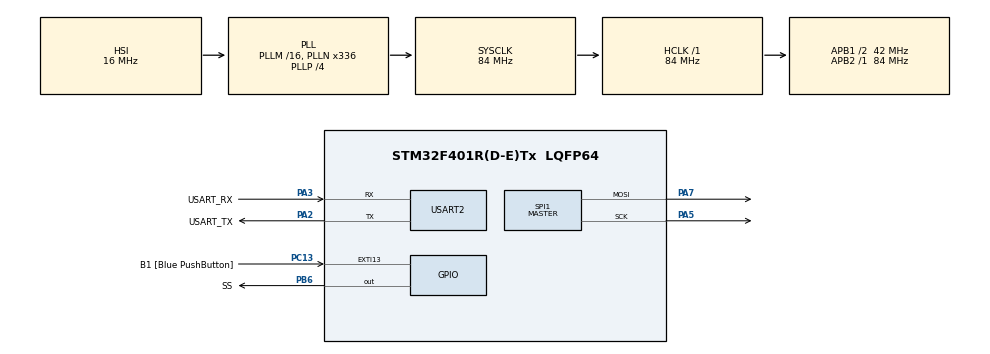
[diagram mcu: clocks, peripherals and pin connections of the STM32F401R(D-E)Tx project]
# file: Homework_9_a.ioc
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Dma.Request0=SPI1_TX
Dma.SPI1_TX.0.Direction=DMA_MEMORY_TO_PERIPH
Dma.SPI1_TX.0.FIFOMode=DMA_FIFOMODE_DISABLE
Dma.SPI1_TX.0.Instance=DMA2_Stream3
Dma.SPI1_TX.0.MemDataAlignment=DMA_MDATAALIGN_BYTE
Dma.SPI1_TX.0.MemInc=DMA_MINC_ENABLE
Dma.SPI1_TX.0.Mode=DMA_NORMAL
Dma.SPI1_TX.0.PeriphDataAlignment=DMA_PDATAALIGN_BYTE
Dma.SPI1_TX.0.PeriphInc=DMA_PINC_DISABLE
Dma.SPI1_TX.0.Priority=DMA_PRIORITY_LOW
Mcu.Family=STM32F4
Mcu.Name=STM32F401R(D-E)Tx
Mcu.Package=LQFP64
NVIC.DMA2_Stream3_IRQn=true\:0\:0\:false\:false\:true\:false\:true\:true
NVIC.PriorityGroup=NVIC_PRIORITYGROUP_0
NVIC.SPI1_IRQn=true\:0\:0\:false\:false\:true\:true\:true\:true
NVIC.TIM1_UP_TIM10_IRQn=true\:0\:0\:false\:false\:true\:true\:true\:true
NVIC.TIM3_IRQn=true\:0\:0\:false\:false\:true\:true\:true\:true
PA13.GPIO_Label=TMS
PA13.Mode=Serial_Wire
PA13.Signal=SYS_JTMS-SWDIO
PA14.GPIO_Label=TCK
PA14.Mode=Serial_Wire
PA14.Signal=SYS_JTCK-SWCLK
PA2.GPIO_Label=USART_TX
PA2.GPIO_Mode=GPIO_MODE_AF_PP
PA2.GPIO_PuPd=GPIO_NOPULL
PA2.GPIO_Speed=GPIO_SPEED_FREQ_LOW
PA2.Mode=Asynchronous
PA2.Signal=USART2_TX
PA3.GPIO_Label=USART_RX
PA3.GPIO_Mode=GPIO_MODE_AF_PP
PA3.GPIO_PuPd=GPIO_NOPULL
PA3.GPIO_Speed=GPIO_SPEED_FREQ_LOW
PA3.Mode=Asynchronous
PA3.Signal=USART2_RX
PA5.Mode=TX_Only_Simplex_Unidirect_Master
PA5.Signal=SPI1_SCK
PA7.Mode=TX_Only_Simplex_Unidirect_Master
PA7.Signal=SPI1_MOSI
PB3.GPIO_Label=SWO
PB3.Signal=SYS_JTDO-SWO
PB6.GPIO_Label=SS
PB6.Signal=GPIO_Output
PC13-ANTI_TAMP.GPIO_Label=B1 [Blue PushButton]
PC13-ANTI_TAMP.GPIO_ModeDefaultEXTI=GPIO_MODE_IT_FALLING
PC13-ANTI_TAMP.GPIO_PuPd=GPIO_NOPULL
PC13-ANTI_TAMP.Signal=GPXTI13
PC14-OSC32_IN.Mode=LSE-External-Oscillator
PC14-OSC32_IN.Signal=RCC_OSC32_IN
PC15-OSC32_OUT.Mode=LSE-External-Oscillator
PC15-OSC32_OUT.Signal=RCC_OSC32_OUT
PH0\ -\ OSC_IN.Mode=HSE-External-Clock-Source
PH0\ -\ OSC_IN.Signal=RCC_OSC_IN
PH1\ -\ OSC_OUT.Mode=HSE-External-Clock-Source
PH1\ -\ OSC_OUT.Signal=RCC_OSC_OUT
ProjectManager.HeapSize=0x200
ProjectManager.StackSize=0x400
ProjectManager.TargetToolchain=STM32CubeIDE
RCC.48MHZClocksFreq_Value=48000000
RCC.AHBFreq_Value=84000000
RCC.APB1CLKDivider=RCC_HCLK_DIV2
RCC.APB1Freq_Value=42000000
RCC.APB1TimFreq_Value=84000000
RCC.APB2Freq_Value=84000000
RCC.APB2TimFreq_Value=84000000
RCC.CortexFreq_Value=84000000
RCC.HCLKFreq_Value=84000000
RCC.HSE_VALUE=8000000
RCC.HSI_VALUE=16000000
RCC.PLLN=336
RCC.PLLP=RCC_PLLP_DIV4
RCC.PLLQ=7
RCC.SYSCLKFreq_VALUE=84000000
RCC.SYSCLKSource=RCC_SYSCLKSOURCE_PLLCLK
RCC.VCOOutputFreq_Value=336000000
SPI1.Direction=SPI_DIRECTION_2LINES
SPI1.Mode=SPI_MODE_MASTER
SPI1.VirtualType=VM_MASTER
TIM1.Period=4
TIM1.Prescaler=9999
TIM1.TIM_MasterOutputTrigger=TIM_TRGO_UPDATE
TIM3.Period=9999
TIM3.Prescaler=8399
USART2.VirtualMode=VM_ASYNC
VP_TIM1_VS_ClockSourceINT.Mode=Internal
VP_TIM3_VS_ClockSourceINT.Mode=Internal
board=NUCLEO-F401RE

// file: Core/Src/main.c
/* USER CODE BEGIN Header */
/**
  ******************************************************************************
  * @file           : main.c
  * @brief          : Main program body
  ******************************************************************************
  * @attention
  *
  * Copyright (c) 2024 STMicroelectronics.
  * All rights reserved.
  *
  * This software is licensed under terms that can be found in the LICENSE file
  * in the root directory of this software component.
  * If no LICENSE file comes with this software, it is provided AS-IS.
  *
  ******************************************************************************
  */
/* USER CODE END Header */
#include "main.h"

/* USER CODE BEGIN Includes */
#include <string.h>
/* USER CODE END Includes */

/* USER CODE BEGIN PTD */

/** Struct of a letter **/
typedef uint8_t letter_t[5][2];

/** Struct to display all the columns of the letter **/
typedef struct {
	uint8_t index;
	letter_t letter;
} display;

/* USER CODE END PTD */

/* USER CODE BEGIN PD */

#define GET_LETTER_BYTES(col1,col2,col3,col4,col5) {{col1<<1,16},{col2<<1,8},{col3<<1,4},{col4<<1,2},{col5<<1,1}}
#define SS_PIN 				GPIOB, GPIO_PIN_6
#define TWO_BYTES 			2
#define MAX_COLUMN_MATRIX 	4
#define MAX_ALPHABET 		2

/* USER CODE END PD */

SPI_HandleTypeDef hspi1;
DMA_HandleTypeDef hdma_spi1_tx;

TIM_HandleTypeDef htim1;
TIM_HandleTypeDef htim3;

UART_HandleTypeDef huart2;

/* USER CODE BEGIN PV */

display matrix; // Matrix variable

letter_t letterA = GET_LETTER_BYTES(31, 36, 68,  36, 31);
letter_t letterI = GET_LETTER_BYTES(65, 65, 127, 65, 65);

letter_t *alphabet [2] = {&letterA, &letterI}; // Just 2 letter but can be done with all the letters

int index_alphabet = 0; // Index for when we change the letter to display

/* USER CODE END PV */

void SystemClock_Config(void);
static void MX_GPIO_Init(void);
static void MX_DMA_Init(void);
static void MX_USART2_UART_Init(void);
static void MX_TIM1_Init(void);
static void MX_SPI1_Init(void);
static void MX_TIM3_Init(void);

/* USER CODE BEGIN 0 */

/**
 * @brief Change the letter of the matrix
 */
void ChangeLetter (void)
{
	// If the index is higher than the max of the alphabet
	if(++index_alphabet == MAX_ALPHABET)
	{
		index_alphabet = 0;
	}

	// Change the letter by the next one
	memcpy(matrix.letter, *alphabet[index_alphabet], sizeof(*alphabet[index_alphabet]));
}

/**
 * @brief Timers Callback
 * 		  Timer of 1 sec : Change the letter to be displayed
 * 		  Timer of 4 ms  : Display each columns of the letter on the LED matrix
 */
void HAL_TIM_PeriodElapsedCallback(TIM_HandleTypeDef *htim)
{
  /** 1sec Timer (to change the letter) **/
  if (htim->Instance == htim3.Instance)
  {
	  ChangeLetter();
  }

  /** 4ms Timer (to display the letter) **/
  if(htim->Instance == htim1.Instance)
  {
	  HAL_GPIO_WritePin(SS_PIN, GPIO_PIN_SET);
	  // For each column
	  if(++matrix.index > MAX_COLUMN_MATRIX)
	  {
		  matrix.index = 0;
	  }
	  HAL_GPIO_WritePin(SS_PIN, GPIO_PIN_RESET);
	  HAL_SPI_Transmit_DMA(&hspi1, matrix.letter[matrix.index], TWO_BYTES);
  }
}

/* USER CODE END 0 */

int main(void)
{

  /* MCU Configuration--------------------------------------------------------*/

  /* Reset of all peripherals, Initializes the Flash interface and the Systick. */
  HAL_Init();

  /* Configure the system clock */
  SystemClock_Config();

  /* Initialize all configured peripherals */
  MX_GPIO_Init();
  MX_DMA_Init();
  MX_USART2_UART_Init();
  MX_TIM1_Init();
  MX_SPI1_Init();
  MX_TIM3_Init();
  /* USER CODE BEGIN 2 */

  	/** Copy the first letter in the struct to be displayed **/
	memcpy(matrix.letter, alphabet[index_alphabet], sizeof letterA);

	/** Start the Timer (4ms) **/
	HAL_TIM_Base_Start_IT(&htim1);

	/** Start the Timer (1sec) **/
	HAL_TIM_Base_Start_IT(&htim3);

  /* USER CODE END 2 */

  /* Infinite loop */
  while (1)
  {

  }
}

void SystemClock_Config(void)
{
  RCC_OscInitTypeDef RCC_OscInitStruct = {0};
  RCC_ClkInitTypeDef RCC_ClkInitStruct = {0};

  /** Configure the main internal regulator output voltage
  */
  __HAL_RCC_PWR_CLK_ENABLE();
  __HAL_PWR_VOLTAGESCALING_CONFIG(PWR_REGULATOR_VOLTAGE_SCALE2);

  /** Initializes the RCC Oscillators according to the specified parameters
  * in the RCC_OscInitTypeDef structure.
  */
  RCC_OscInitStruct.OscillatorType = RCC_OSCILLATORTYPE_HSI;
  RCC_OscInitStruct.HSIState = RCC_HSI_ON;
  RCC_OscInitStruct.HSICalibrationValue = RCC_HSICALIBRATION_DEFAULT;
  RCC_OscInitStruct.PLL.PLLState = RCC_PLL_ON;
  RCC_OscInitStruct.PLL.PLLSource = RCC_PLLSOURCE_HSI;
  RCC_OscInitStruct.PLL.PLLM = 16;
  RCC_OscInitStruct.PLL.PLLN = 336;
  RCC_OscInitStruct.PLL.PLLP = RCC_PLLP_DIV4;
  RCC_OscInitStruct.PLL.PLLQ = 7;
  if (HAL_RCC_OscConfig(&RCC_OscInitStruct) != HAL_OK)
  {
    Error_Handler();
  }

  /** Initializes the CPU, AHB and APB buses clocks
  */
  RCC_ClkInitStruct.ClockType = RCC_CLOCKTYPE_HCLK|RCC_CLOCKTYPE_SYSCLK
                              |RCC_CLOCKTYPE_PCLK1|RCC_CLOCKTYPE_PCLK2;
  RCC_ClkInitStruct.SYSCLKSource = RCC_SYSCLKSOURCE_PLLCLK;
  RCC_ClkInitStruct.AHBCLKDivider = RCC_SYSCLK_DIV1;
  RCC_ClkInitStruct.APB1CLKDivider = RCC_HCLK_DIV2;
  RCC_ClkInitStruct.APB2CLKDivider = RCC_HCLK_DIV1;

  if (HAL_RCC_ClockConfig(&RCC_ClkInitStruct, FLASH_LATENCY_2) != HAL_OK)
  {
    Error_Handler();
  }
}

static void MX_SPI1_Init(void)
{

  /* SPI1 parameter configuration*/
  hspi1.Instance = SPI1;
  hspi1.Init.Mode = SPI_MODE_MASTER;
  hspi1.Init.Direction = SPI_DIRECTION_2LINES;
  hspi1.Init.DataSize = SPI_DATASIZE_8BIT;
  hspi1.Init.CLKPolarity = SPI_POLARITY_LOW;
  hspi1.Init.CLKPhase = SPI_PHASE_1EDGE;
  hspi1.Init.NSS = SPI_NSS_SOFT;
  hspi1.Init.BaudRatePrescaler = SPI_BAUDRATEPRESCALER_2;
  hspi1.Init.FirstBit = SPI_FIRSTBIT_MSB;
  hspi1.Init.TIMode = SPI_TIMODE_DISABLE;
  hspi1.Init.CRCCalculation = SPI_CRCCALCULATION_DISABLE;
  hspi1.Init.CRCPolynomial = 10;
  if (HAL_SPI_Init(&hspi1) != HAL_OK)
  {
    Error_Handler();
  }

}

static void MX_TIM1_Init(void)
{

  TIM_ClockConfigTypeDef sClockSourceConfig = {0};
  TIM_MasterConfigTypeDef sMasterConfig = {0};

  htim1.Instance = TIM1;
  htim1.Init.Prescaler = 9999;
  htim1.Init.CounterMode = TIM_COUNTERMODE_UP;
  htim1.Init.Period = 4;
  htim1.Init.ClockDivision = TIM_CLOCKDIVISION_DIV1;
  htim1.Init.RepetitionCounter = 0;
  htim1.Init.AutoReloadPreload = TIM_AUTORELOAD_PRELOAD_DISABLE;
  if (HAL_TIM_Base_Init(&htim1) != HAL_OK)
  {
    Error_Handler();
  }
  sClockSourceConfig.ClockSource = TIM_CLOCKSOURCE_INTERNAL;
  if (HAL_TIM_ConfigClockSource(&htim1, &sClockSourceConfig) != HAL_OK)
  {
    Error_Handler();
  }
  sMasterConfig.MasterOutputTrigger = TIM_TRGO_UPDATE;
  sMasterConfig.MasterSlaveMode = TIM_MASTERSLAVEMODE_DISABLE;
  if (HAL_TIMEx_MasterConfigSynchronization(&htim1, &sMasterConfig) != HAL_OK)
  {
    Error_Handler();
  }

}

static void MX_TIM3_Init(void)
{

  TIM_ClockConfigTypeDef sClockSourceConfig = {0};
  TIM_MasterConfigTypeDef sMasterConfig = {0};

  htim3.Instance = TIM3;
  htim3.Init.Prescaler = 8399;
  htim3.Init.CounterMode = TIM_COUNTERMODE_UP;
  htim3.Init.Period = 9999;
  htim3.Init.ClockDivision = TIM_CLOCKDIVISION_DIV1;
  htim3.Init.AutoReloadPreload = TIM_AUTORELOAD_PRELOAD_DISABLE;
  if (HAL_TIM_Base_Init(&htim3) != HAL_OK)
  {
    Error_Handler();
  }
  sClockSourceConfig.ClockSource = TIM_CLOCKSOURCE_INTERNAL;
  if (HAL_TIM_ConfigClockSource(&htim3, &sClockSourceConfig) != HAL_OK)
  {
    Error_Handler();
  }
  sMasterConfig.MasterOutputTrigger = TIM_TRGO_RESET;
  sMasterConfig.MasterSlaveMode = TIM_MASTERSLAVEMODE_DISABLE;
  if (HAL_TIMEx_MasterConfigSynchronization(&htim3, &sMasterConfig) != HAL_OK)
  {
    Error_Handler();
  }

}

static void MX_USART2_UART_Init(void)
{

  huart2.Instance = USART2;
  huart2.Init.BaudRate = 115200;
  huart2.Init.WordLength = UART_WORDLENGTH_8B;
  huart2.Init.StopBits = UART_STOPBITS_1;
  huart2.Init.Parity = UART_PARITY_NONE;
  huart2.Init.Mode = UART_MODE_TX_RX;
  huart2.Init.HwFlowCtl = UART_HWCONTROL_NONE;
  huart2.Init.OverSampling = UART_OVERSAMPLING_16;
  if (HAL_UART_Init(&huart2) != HAL_OK)
  {
    Error_Handler();
  }

}

static void MX_DMA_Init(void)
{

  /* DMA controller clock enable */
  __HAL_RCC_DMA2_CLK_ENABLE();

  /* DMA interrupt init */
  /* DMA2_Stream3_IRQn interrupt configuration */
  HAL_NVIC_SetPriority(DMA2_Stream3_IRQn, 0, 0);
  HAL_NVIC_EnableIRQ(DMA2_Stream3_IRQn);

}

static void MX_GPIO_Init(void)
{
  GPIO_InitTypeDef GPIO_InitStruct = {0};

  /* GPIO Ports Clock Enable */
  __HAL_RCC_GPIOC_CLK_ENABLE();
  __HAL_RCC_GPIOH_CLK_ENABLE();
  __HAL_RCC_GPIOA_CLK_ENABLE();
  __HAL_RCC_GPIOB_CLK_ENABLE();

  /*Configure GPIO pin Output Level */
  HAL_GPIO_WritePin(SS_GPIO_Port, SS_Pin, GPIO_PIN_RESET);

  /*Configure GPIO pin : B1_Pin */
  GPIO_InitStruct.Pin = B1_Pin;
  GPIO_InitStruct.Mode = GPIO_MODE_IT_FALLING;
  GPIO_InitStruct.Pull = GPIO_NOPULL;
  HAL_GPIO_Init(B1_GPIO_Port, &GPIO_InitStruct);

  /*Configure GPIO pin : SS_Pin */
  GPIO_InitStruct.Pin = SS_Pin;
  GPIO_InitStruct.Mode = GPIO_MODE_OUTPUT_PP;
  GPIO_InitStruct.Pull = GPIO_NOPULL;
  GPIO_InitStruct.Speed = GPIO_SPEED_FREQ_LOW;
  HAL_GPIO_Init(SS_GPIO_Port, &GPIO_InitStruct);

}

void Error_Handler(void)
{
  __disable_irq();
  while (1)
  {
  }
}
